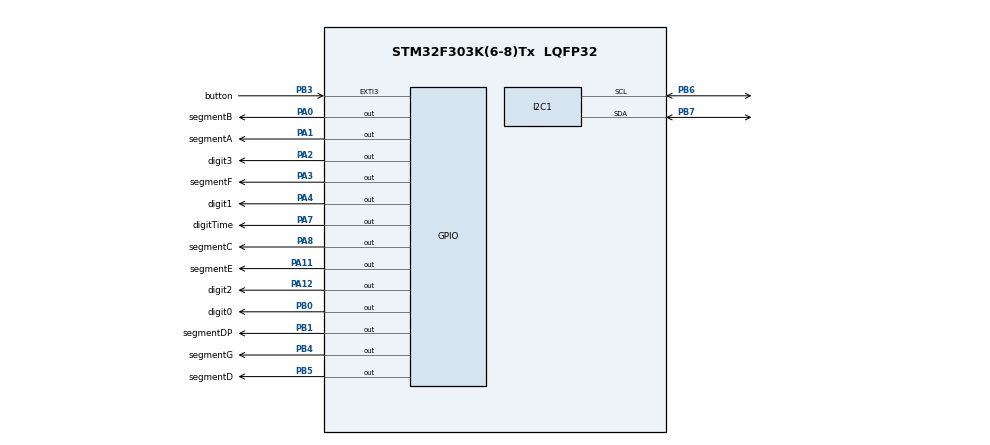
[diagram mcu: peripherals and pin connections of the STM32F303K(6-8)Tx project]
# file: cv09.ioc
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I2C1.Analog_Filter=I2C_ANALOGFILTER_ENABLE
I2C1.OwnAddress=1
Mcu.Family=STM32F3
Mcu.Name=STM32F303K(6-8)Tx
Mcu.Package=LQFP32
NVIC.EXTI3_IRQn=true\:1\:0\:true\:false\:true\:true\:true
NVIC.I2C1_EV_IRQn=true\:0\:0\:false\:false\:true\:true\:true
NVIC.PriorityGroup=NVIC_PRIORITYGROUP_4
NVIC.TIM2_IRQn=true\:0\:0\:true\:false\:true\:true\:true
NVIC.TIM3_IRQn=true\:0\:0\:true\:false\:true\:true\:true
PA0.GPIO_Label=segmentB
PA0.GPIO_ModeDefaultOutputPP=GPIO_MODE_OUTPUT_PP
PA0.GPIO_PuPd=GPIO_NOPULL
PA0.GPIO_Speed=GPIO_SPEED_FREQ_LOW
PA0.PinState=GPIO_PIN_SET
PA0.Signal=GPIO_Output
PA1.GPIO_Label=segmentA
PA1.GPIO_ModeDefaultOutputPP=GPIO_MODE_OUTPUT_PP
PA1.GPIO_PuPd=GPIO_NOPULL
PA1.GPIO_Speed=GPIO_SPEED_FREQ_LOW
PA1.PinState=GPIO_PIN_SET
PA1.Signal=GPIO_Output
PA11.GPIO_Label=segmentE
PA11.GPIO_ModeDefaultOutputPP=GPIO_MODE_OUTPUT_PP
PA11.GPIO_PuPd=GPIO_NOPULL
PA11.GPIO_Speed=GPIO_SPEED_FREQ_LOW
PA11.PinState=GPIO_PIN_SET
PA11.Signal=GPIO_Output
PA12.GPIO_Label=digit2
PA12.Signal=GPIO_Output
PA2.GPIO_Label=digit3
PA2.GPIO_ModeDefaultOutputPP=GPIO_MODE_OUTPUT_PP
PA2.GPIO_PuPd=GPIO_NOPULL
PA2.GPIO_Speed=GPIO_SPEED_FREQ_LOW
PA2.PinState=GPIO_PIN_RESET
PA2.Signal=GPIO_Output
PA3.GPIO_Label=segmentF
PA3.GPIO_ModeDefaultOutputPP=GPIO_MODE_OUTPUT_PP
PA3.GPIO_PuPd=GPIO_NOPULL
PA3.GPIO_Speed=GPIO_SPEED_FREQ_LOW
PA3.PinState=GPIO_PIN_SET
PA3.Signal=GPIO_Output
PA4.GPIO_Label=digit1
PA4.GPIO_ModeDefaultOutputPP=GPIO_MODE_OUTPUT_PP
PA4.GPIO_PuPd=GPIO_NOPULL
PA4.GPIO_Speed=GPIO_SPEED_FREQ_LOW
PA4.PinState=GPIO_PIN_RESET
PA4.Signal=GPIO_Output
PA7.GPIO_Label=digitTime
PA7.GPIO_ModeDefaultOutputPP=GPIO_MODE_OUTPUT_PP
PA7.GPIO_PuPd=GPIO_NOPULL
PA7.GPIO_Speed=GPIO_SPEED_FREQ_LOW
PA7.PinState=GPIO_PIN_RESET
PA7.Signal=GPIO_Output
PA8.GPIO_Label=segmentC
PA8.GPIO_ModeDefaultOutputPP=GPIO_MODE_OUTPUT_PP
PA8.GPIO_PuPd=GPIO_NOPULL
PA8.GPIO_Speed=GPIO_SPEED_FREQ_LOW
PA8.PinState=GPIO_PIN_SET
PA8.Signal=GPIO_Output
PB0.GPIO_Label=digit0
PB0.Signal=GPIO_Output
PB1.GPIO_Label=segmentDP
PB1.GPIO_ModeDefaultOutputPP=GPIO_MODE_OUTPUT_PP
PB1.GPIO_PuPd=GPIO_NOPULL
PB1.GPIO_Speed=GPIO_SPEED_FREQ_LOW
PB1.PinState=GPIO_PIN_SET
PB1.Signal=GPIO_Output
PB3.GPIO_Label=button
PB3.GPIO_ModeDefaultEXTI=GPIO_MODE_IT_FALLING
PB3.GPIO_PuPd=GPIO_PULLUP
PB3.Signal=GPXTI3
PB4.GPIO_Label=segmentG
PB4.GPIO_ModeDefaultOutputPP=GPIO_MODE_OUTPUT_PP
PB4.GPIO_PuPd=GPIO_NOPULL
PB4.GPIO_Speed=GPIO_SPEED_FREQ_LOW
PB4.PinState=GPIO_PIN_SET
PB4.Signal=GPIO_Output
PB5.GPIO_Label=segmentD
PB5.GPIO_ModeDefaultOutputPP=GPIO_MODE_OUTPUT_PP
PB5.GPIO_PuPd=GPIO_NOPULL
PB5.GPIO_Speed=GPIO_SPEED_FREQ_LOW
PB5.PinState=GPIO_PIN_SET
PB5.Signal=GPIO_Output
PB6.GPIO_Pu=GPIO_PULLUP
PB6.Mode=I2C
PB6.Signal=I2C1_SCL
PB7.GPIO_Pu=GPIO_PULLUP
PB7.Mode=I2C
PB7.Signal=I2C1_SDA
ProjectManager.HeapSize=0x200
ProjectManager.StackSize=0x400
ProjectManager.TargetToolchain=STM32CubeIDE
RCC.AHBFreq_Value=8000000
RCC.APB1Freq_Value=8000000
RCC.APB2Freq_Value=8000000
RCC.CortexFreq_Value=8000000
RCC.HSE_VALUE=8000000
RCC.HSI_VALUE=8000000
RCC.SYSCLKFreq_VALUE=8000000
TIM2.Period=99
TIM2.Prescaler=199
TIM3.Period=499
TIM3.Prescaler=7999
VP_TIM2_VS_ClockSourceINT.Mode=Internal
VP_TIM3_VS_ClockSourceINT.Mode=Internal
board=custom

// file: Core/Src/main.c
/* USER CODE BEGIN Header */
/**
  ******************************************************************************
  * @file           : main.c
  * @brief          : Main program body
  ******************************************************************************
  * @attention
  *
  * Copyright (c) 2021 STMicroelectronics.
  * All rights reserved.
  *
  * This software is licensed under terms that can be found in the LICENSE file
  * in the root directory of this software component.
  * If no LICENSE file comes with this software, it is provided AS-IS.
  *
  ******************************************************************************
  */
/* USER CODE END Header */
#include "main.h"
#include "i2c.h"
#include "tim.h"
#include "gpio.h"

/* USER CODE BEGIN Includes */
#include "display.h"
#include "string.h"
#include "stdio.h"
#include "stm32f3xx_it.h"
#include "pressure_sensor/lps25hb.h"
#include "temp_humidity_sensor/hts221.h"
/* USER CODE END Includes */

/* USER CODE BEGIN PV */
MeasurementMode_t mode = MODE_TEMPERATURE;

char text[32] = "test_text";
uint8_t disp_segment_array[32];
uint8_t disp_segment_arr_length = 0;
uint8_t direction=0;
uint8_t position=0;

uint8_t disp_segments_current[4];
uint8_t digit=0;

/* USER CODE END PV */

void SystemClock_Config(void);
/* USER CODE BEGIN PFP */
void RollText();
void UpdateDisp();
void ButtonPressHandler();
/* USER CODE END PFP */

int main(void)
{
  /* USER CODE BEGIN 1 */
	disp_stringToSegmentArray(text, strlen(text), disp_segment_array, &disp_segment_arr_length);
  /* USER CODE END 1 */

  /* MCU Configuration--------------------------------------------------------*/

  /* Reset of all peripherals, Initializes the Flash interface and the Systick. */

  LL_APB2_GRP1_EnableClock(LL_APB2_GRP1_PERIPH_SYSCFG);
  LL_APB1_GRP1_EnableClock(LL_APB1_GRP1_PERIPH_PWR);

  NVIC_SetPriorityGrouping(NVIC_PRIORITYGROUP_4);

  /* System interrupt init*/
  /* SysTick_IRQn interrupt configuration */
  NVIC_SetPriority(SysTick_IRQn, NVIC_EncodePriority(NVIC_GetPriorityGrouping(),15, 0));

  /* Configure the system clock */
  SystemClock_Config();

  /* Initialize all configured peripherals */
  MX_GPIO_Init();
  MX_TIM2_Init();
  MX_TIM3_Init();
  MX_I2C1_Init();
  /* USER CODE BEGIN 2 */
  disableAllDigits();
  disableAllSegments();

  uint8_t press_sensor_ok = lps25hb_init();
  uint8_t temp_sensor_ok = hts221_init();

  TIM2_RegisterUpdateCallback(UpdateDisp);
  TIM3_RegisterUpdateCallback(RollText);
  EXTI3_RegisterCallback(ButtonPressHandler);
  LL_TIM_EnableIT_UPDATE(TIM2);
  LL_TIM_EnableIT_UPDATE(TIM3);
  LL_TIM_EnableCounter(TIM2);
  LL_TIM_EnableCounter(TIM3);

  /* USER CODE END 2 */

  /* Infinite loop */
  /* USER CODE BEGIN WHILE */
  float temp = 0, hum = 0, press = 0, alt = 0;
  while (1)
  {
	  switch(mode)
	  {
	  case MODE_TEMPERATURE:
	  {
		  if(temp_sensor_ok)
		  {
			  temp = hts221_get_temperature();
		  }

		  if(temp > 99.9) temp = 99.9;
		  if(temp < -99.9) temp = -99.9;

		  sprintf(text, "TEMP_%03.1f", temp);
		  disp_stringToSegmentArray(text, strlen(text), disp_segment_array, &disp_segment_arr_length);

		  break;
	  }
	  case MODE_HUMIDITY:
	  {
		  if(temp_sensor_ok)
		  {
			  hum = hts221_get_humidity();
		  }

		  if(hum > 99) hum = 99;
		  if(hum < 0) hum = 0;

		  sprintf(text, "HUM_%02.0f", hum);
		  disp_stringToSegmentArray(text, strlen(text), disp_segment_array, &disp_segment_arr_length);

		  break;
	  }
	  case MODE_PRESSURE:
	  {
		  if(press_sensor_ok)
		  {
			  press = lps25hb_get_pressure();
		  }

		  if(press > 9999.99) press = 9999.99;
		  if(press < -9999.99) press = -9999.99;

		  sprintf(text, "BAR_%06.2f", press);
		  disp_stringToSegmentArray(text, strlen(text), disp_segment_array, &disp_segment_arr_length);

		  break;
	  }
	  case MODE_ALTITUDE:
	  {
		  if(press_sensor_ok)
		  {
			  press = lps25hb_get_pressure();
			  alt = lps25hb_calculate_altitude(press);
		  }

		  if(alt > 9999.9) alt = 9999.9;
		  if(alt < -9999.9) alt = -9999.9;

		  sprintf(text, "ALT_%05.1f", alt);
		  disp_stringToSegmentArray(text, strlen(text), disp_segment_array, &disp_segment_arr_length);

		  break;
	  }

//	  LL_mDelay(250);

	  }
    /* USER CODE END WHILE */

  }
}

void SystemClock_Config(void)
{
  LL_FLASH_SetLatency(LL_FLASH_LATENCY_0);
  while(LL_FLASH_GetLatency()!= LL_FLASH_LATENCY_0)
  {
  }
  LL_RCC_HSI_Enable();

   /* Wait till HSI is ready */
  while(LL_RCC_HSI_IsReady() != 1)
  {

  }
  LL_RCC_HSI_SetCalibTrimming(16);
  LL_RCC_SetAHBPrescaler(LL_RCC_SYSCLK_DIV_1);
  LL_RCC_SetAPB1Prescaler(LL_RCC_APB1_DIV_1);
  LL_RCC_SetAPB2Prescaler(LL_RCC_APB2_DIV_1);
  LL_RCC_SetSysClkSource(LL_RCC_SYS_CLKSOURCE_HSI);

   /* Wait till System clock is ready */
  while(LL_RCC_GetSysClkSource() != LL_RCC_SYS_CLKSOURCE_STATUS_HSI)
  {

  }
  LL_Init1msTick(8000000);
  LL_SetSystemCoreClock(8000000);
  LL_RCC_SetI2CClockSource(LL_RCC_I2C1_CLKSOURCE_HSI);
}

/* USER CODE BEGIN 4 */
void RollText()
{
	memcpy(disp_segments_current, disp_segment_array+position, 4);
	if (direction==0)
	{
		position++;
		if (position==(disp_segment_arr_length-4))
		{
			direction=1;
		}
	}
	else
	{
		position--;
		if (position==0)
		{
			direction=0;
		}
	}
}

void UpdateDisp()
{
	disableAllDigits();
	displayEnableDigit(digit);
//	displayAsciiCharacter(disp_segments_current[digit]);
	displaySegments(disp_segments_current[digit]);
	digit++;
	if (digit>=4) digit=0;
}

void ButtonPressHandler()
{
	const uint8_t press_count = 20;

	uint8_t samples_pressed = 0;
	uint8_t samples_total = 30;

	while((samples_total > 0) && (samples_pressed < press_count))
	{
		if(!LL_GPIO_IsInputPinSet(button_GPIO_Port, button_Pin))
		{
			samples_pressed++;
		}
		else
		{
			samples_pressed = 0;
		}
		samples_total--;
		LL_mDelay(1);

	}

	if(samples_pressed >= press_count)
	{
		mode = (mode + 1) % 4;
		direction = 0;
		position = 0;
	}
}
/* USER CODE END 4 */

void Error_Handler(void)
{
  __disable_irq();
  while (1)
  {
  }
}
